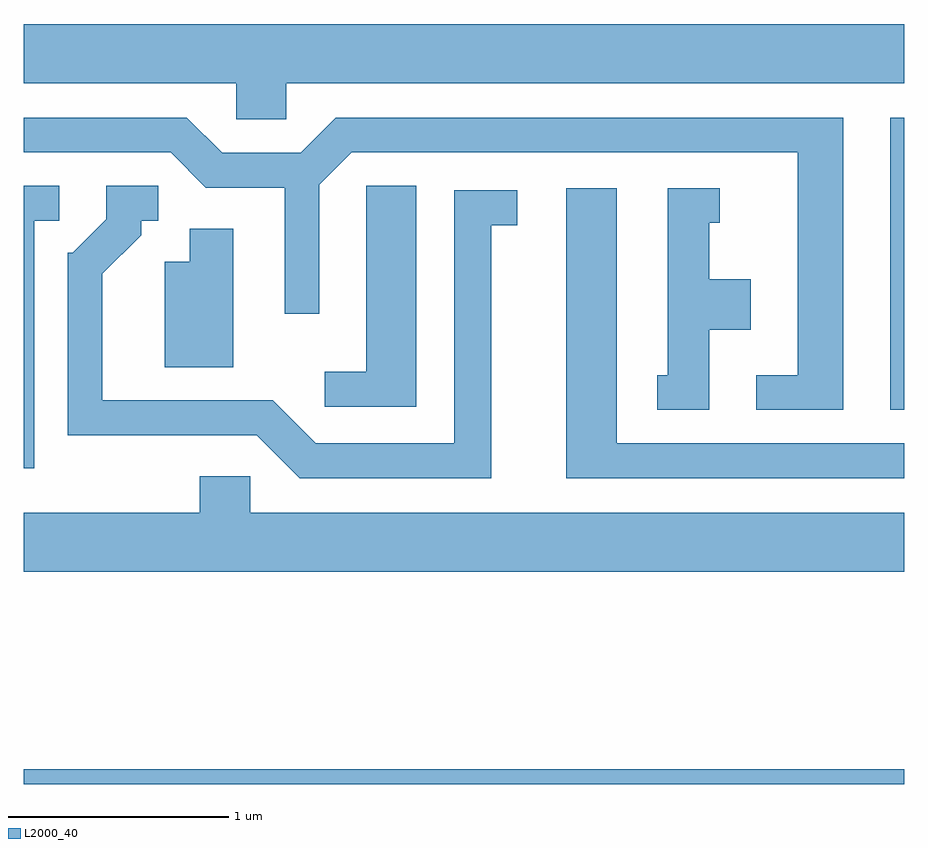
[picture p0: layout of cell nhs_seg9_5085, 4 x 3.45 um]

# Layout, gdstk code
import gdstk
lib = gdstk.Library(unit=1e-6, precision=1e-09)
def R(c, l, rs):  # rectangles x0, y0, x1, y1
    for r in rs: c.add(gdstk.rectangle(r[:2], r[2:], *l))
def P(c, l, *ps):  # polygons
    for p in ps: c.add(gdstk.Polygon(p, *l))
L2000_40 = (2000, 40)

nhs_seg9_5085 = lib.new_cell('nhs_seg9_5085')
R(nhs_seg9_5085, L2000_40, [(335.611,1966.432,339.611,1966.499), (339.546,1968.131,339.611,1969.459)])
P(nhs_seg9_5085, L2000_40, [(336.804,1969.616),(339.611,1969.616),(339.611,1969.884),(335.611,1969.884),(335.611,1969.616),(336.576,1969.616),(336.576,1969.451),(336.804,1969.451)],
  [(339.334,1969.459),(337.029,1969.459),(336.869,1969.299),(336.512,1969.299),(336.352,1969.459),(335.611,1969.459),(335.611,1969.301),(336.279,1969.301),(336.439,1969.141),(336.796,1969.141),(336.796,1968.568),(336.954,1968.568),(336.954,1969.154),(337.102,1969.301),(339.126,1969.301),(339.126,1968.289),(338.938,1968.289),(338.938,1968.131),(339.334,1968.131)],
  [(337.394,1969.149),(337.166,1969.149),(337.166,1968.304),(336.978,1968.304),(336.978,1968.146),(337.394,1968.146)],
  [(337.734,1968.971),(337.853,1968.971),(337.853,1969.129),(337.566,1969.129),(337.566,1967.979),(336.937,1967.979),(336.742,1968.174),(335.969,1968.174),(335.969,1968.749),(336.144,1968.924),(336.144,1968.991),(336.223,1968.991),(336.223,1969.149),(335.986,1969.149),(335.986,1968.997),(335.834,1968.844),(335.811,1968.844),(335.811,1968.016),(336.669,1968.016),(336.864,1967.821),(337.734,1967.821)],
  [(335.659,1968.991),(335.773,1968.991),(335.773,1969.149),(335.611,1969.149),(335.611,1967.866),(335.659,1967.866)],
  [(338.724,1968.496),(338.914,1968.496),(338.914,1968.724),(338.724,1968.724),(338.724,1968.981),(338.773,1968.981),(338.773,1969.139),(338.536,1969.139),(338.536,1968.289),(338.488,1968.289),(338.488,1968.131),(338.724,1968.131)],
  [(339.611,1967.979),(338.304,1967.979),(338.304,1969.139),(338.076,1969.139),(338.076,1967.821),(339.611,1967.821)],
  [(336.564,1968.954),(336.366,1968.954),(336.366,1968.804),(336.251,1968.804),(336.251,1968.326),(336.564,1968.326)],
  [(339.611,1967.664),(336.639,1967.664),(336.639,1967.829),(336.411,1967.829),(336.411,1967.664),(335.611,1967.664),(335.611,1967.396),(339.611,1967.396)])

lib.write_gds('nhs_seg9_5085.gds')
